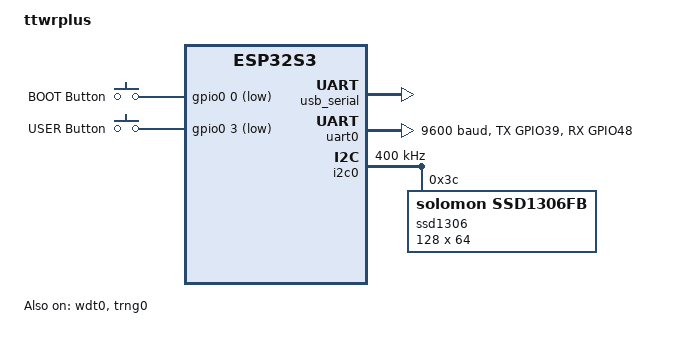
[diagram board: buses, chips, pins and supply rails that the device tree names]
/*
 * SPDX-License-Identifier: Apache-2.0
 */
/dts-v1/;

#include <espressif/esp32s3.dtsi>
#include <zephyr/dt-bindings/pinctrl/esp-pinctrl-common.h>
#include <dt-bindings/pinctrl/esp32s3-pinctrl.h>
#include <zephyr/dt-bindings/pinctrl/esp32s3-gpio-sigmap.h>
#include <zephyr/dt-bindings/led/led.h>

/ {
	model = "ttwrplus";
	compatible = "espressif,esp32s3";

	aliases {
		i2c-0 = &i2c0;
		watchdog0 = &wdt0;
	};

	chosen {
		zephyr,sram = &sram0;
		zephyr,console = &usb_serial;
		zephyr,shell-uart = &usb_serial;
		zephyr,flash = &flash0;
		zephyr,display = &ssd1306;
	};

	aliases {
		radio = &uart0;
	};

	buttons {
		compatible = "gpio-keys";

		sw_boot: button_0 {
			gpios = <&gpio0 0 GPIO_ACTIVE_LOW>;
			label = "BOOT Button";
		};

		sw_user: button_1 {
			gpios = <&gpio0 3 (GPIO_PULL_UP | GPIO_ACTIVE_LOW)>;
			label = "USER Button";
		};
	};
};

&cpu0 {
	clock-frequency = <ESP32_CLK_CPU_240M>;
};

&cpu1 {
	clock-frequency = <ESP32_CLK_CPU_240M>;
};

&usb_serial {
	status = "okay";
};

&uart0 {
	status = "okay";
	current-speed = <9600>;
	pinctrl-0 = <&uart0_default>;
	pinctrl-names = "default";
};

&i2c0 {
	status = "okay";
	clock-frequency = <I2C_BITRATE_FAST>;
	pinctrl-0 = <&i2c0_default>;
	pinctrl-names = "default";

	ssd1306: ssd1306@3c {
                compatible = "solomon,ssd1306fb";
                reg = <0x3c>;

                width  = <128>;
                height = <64>;

                segment-offset  = <2>;
                page-offset     = <0>;
                display-offset  = <0>;
                multiplex-ratio = <63>;
                prechargep      = <0x22>;

                segment-remap;
                com-invdir;
        };
};

&timer0 {
	status = "disabled";
};

&timer1 {
	status = "disabled";
};

&timer2 {
	status = "disabled";
};

&timer3 {
	status = "disabled";
};

&wdt0 {
	status = "okay";
};

&trng0 {
	status = "okay";
};

&pinctrl {
	uart0_default: uart0_default {
		group1 {
			pinmux = <UART0_TX_GPIO39>;
			output-high;
		};
		group2 {
			pinmux = <UART0_RX_GPIO48>;
			bias-pull-up;
		};
	};

	i2c0_default: i2c0_default {
		group1 {
			pinmux = <I2C0_SDA_GPIO8>,
				 <I2C0_SCL_GPIO9>;
			bias-pull-up;
			drive-open-drain;
			output-high;
		};
	};
};

&flash0 {
	status = "okay";
	partitions {
		compatible = "fixed-partitions";
		#address-cells = <1>;
		#size-cells = <1>;

		/* Reserve 64kB for the bootloader */
		boot_partition: partition@0 {
			label = "mcuboot";
			reg = <0x00000000 0x00010000>;
			read-only;
		};

		/* Reserve 1024kB for the application in slot 0 */
		slot0_partition: partition@10000 {
			label = "image-0";
			reg = <0x00010000 0x00100000>;
		};

		/* Reserve 1024kB for the application in slot 1 */
		slot1_partition: partition@110000 {
			label = "image-1";
			reg = <0x00110000 0x00100000>;
		};

		/* Reserve 256kB for the scratch partition */
		scratch_partition: partition@210000 {
			   label = "image-scratch";
			   reg = <0x00210000 0x00040000>;
		};

		storage_partition: partition@250000 {
			label = "storage";
			reg = <0x00250000 0x00006000>;
		};
	};
};
